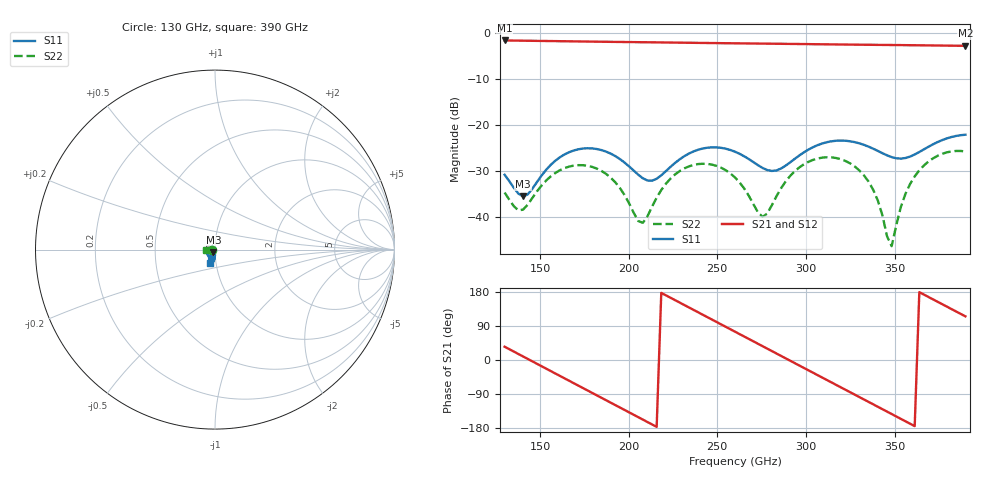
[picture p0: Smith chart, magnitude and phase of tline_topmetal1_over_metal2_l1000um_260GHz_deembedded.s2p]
! Created with skrf 2.0.1 (http://scikit-rf.org).
# GHz S DB R 50.0
!freq dBS11 angS11 dBS21 angS21 dBS12 angS12 dBS22 angS22
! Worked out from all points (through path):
!   101 points, 130 GHz to 390 GHz, reference 50 ohm
!   highest |S21| = -1.68 dB at 130 GHz (marker M1); lowest = -2.8 dB at 390 GHz (marker M2)
!   group delay of S21, straight-line fit = 6.84 ps
!   lowest |S11| = -35.6 dB at 140.4 GHz (marker M3), VSWR 1.03, Z = 49.1 - j1.35 ohm
!   |S11| at or under -10 dB: start of sweep to end of sweep
!   |S22| runs from -46.4 to -25.7 dB; largest |S21 - S12| = 9.3e-14
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130  -30.89 -154.3  -1.68 35.1  -1.68 35.1  -34.76 -175.7
140.4  -35.61 -123.9  -1.73 9.4  -1.73 9.4  -38.49 -137.7
156  -28.76 -91.4  -1.81 -29.1  -1.81 -29.1  -31.26 -122.9
174.2  -25.19 -115.9  -1.90 -74.0  -1.90 -74.0  -28.82 -156.0
189.8  -26.29 -138.1  -1.98 -112.4  -1.98 -112.4  -31.51 175.1
208  -31.66 -133.2  -2.06 -157.2  -2.06 -157.2  -41.35 -146.8
218.4  -31.02 -102.8  -2.11 177.1  -2.11 177.1  -34.22 -115.3
228.8  -27.53 -97.0  -2.16 151.5  -2.16 151.5  -30.09 -128.8
241.8  -25.19 -109.1  -2.22 119.5  -2.22 119.5  -28.50 -154.0
260  -25.88 -129.3  -2.30 74.7  -2.30 74.7  -31.49 173.3
275.6  -29.43 -125.6  -2.36 36.4  -2.36 36.4  -40.05 -156.7
288.6  -28.91 -97.6  -2.42 4.4  -2.42 4.4  -32.35 -119.4
304.2  -24.86 -95.9  -2.49 -34.0  -2.49 -34.0  -27.64 -144.9
319.8  -23.46 -111.6  -2.56 -72.3  -2.56 -72.3  -27.52 -178.3
332.8  -24.39 -123.0  -2.61 -104.3  -2.61 -104.3  -31.05 154.8
340.6  -25.72 -124.7  -2.64 -123.4  -2.64 -123.4  -36.51 144.8
345.8  -26.67 -121.6  -2.66 -136.2  -2.66 -136.2  -44.29 163.3
348.4  -27.06 -118.6  -2.67 -142.6  -2.67 -142.6  -46.43 -146.3
356.2  -27.26 -106.0  -2.70 -161.8  -2.70 -161.8  -35.03 -105.6
364  -25.94 -96.6  -2.73 179.0  -2.73 179.0  -29.94 -117.8
377  -23.34 -98.0  -2.79 147.1  -2.79 147.1  -26.33 -146.3
390  -22.19 -109.5  -2.85 115.2  -2.85 115.2  -25.83 -176.9
